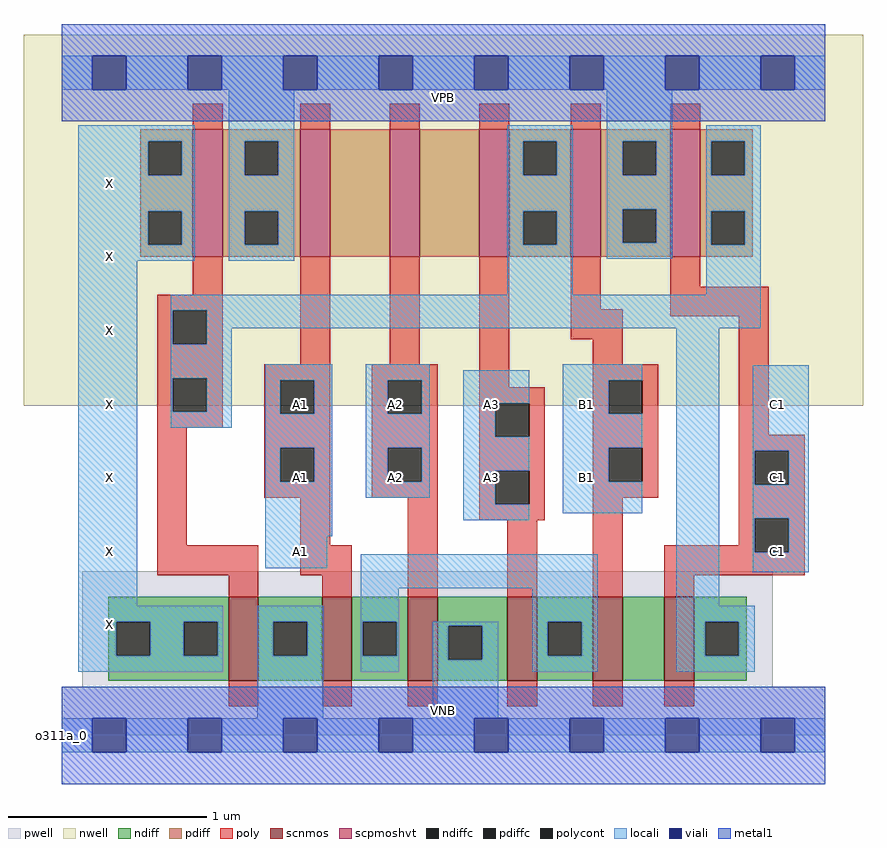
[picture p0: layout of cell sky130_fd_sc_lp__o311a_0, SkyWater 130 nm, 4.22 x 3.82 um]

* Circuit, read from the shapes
.subckt sky130_fd_sc_lp__o311a_0 A1 A2 A3 B1 C1 VGND VNB VPB VPWR X
XM1 VGND n1 X VNB sky130_fd_pr__nfet_01v8 w=0.42 l=0.15
XM2 n2 A1 VGND VNB sky130_fd_pr__nfet_01v8 w=0.42 l=0.15
XM3 VGND A2 n2 VNB sky130_fd_pr__nfet_01v8 w=0.42 l=0.15
XM4 n2 A3 VGND VNB sky130_fd_pr__nfet_01v8 w=0.42 l=0.15
XM5 n3 B1 n2 VNB sky130_fd_pr__nfet_01v8 w=0.42 l=0.15
XM6 n1 C1 n3 VNB sky130_fd_pr__nfet_01v8 w=0.42 l=0.15
XM7 VPWR n1 X VPB sky130_fd_pr__pfet_01v8_hvt w=0.64 l=0.15
XM8 n4 A1 VPWR VPB sky130_fd_pr__pfet_01v8_hvt w=0.64 l=0.15
XM9 n5 A2 n4 VPB sky130_fd_pr__pfet_01v8_hvt w=0.64 l=0.15
XM10 n1 A3 n5 VPB sky130_fd_pr__pfet_01v8_hvt w=0.64 l=0.15
XM11 VPWR B1 n1 VPB sky130_fd_pr__pfet_01v8_hvt w=0.64 l=0.15
XM12 n1 C1 VPWR VPB sky130_fd_pr__pfet_01v8_hvt w=0.64 l=0.15
.ends

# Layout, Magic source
magic
tech sky130A
magscale 1 2
<< nwell >>
rect -38 331 806 704
<< pwell >>
rect 21 49 715 165
rect 0 0 768 49
<< scnmos >>
rect 168 55 198 139
rect 262 55 292 139
rect 348 55 378 139
rect 448 55 478 139
rect 534 55 564 139
rect 606 55 636 139
<< scpmoshvt >>
rect 132 481 162 609
rect 240 481 270 609
rect 330 481 360 609
rect 420 481 450 609
rect 512 481 542 609
rect 612 481 642 609
<< ndiff >>
rect 47 114 168 139
rect 47 80 55 114
rect 89 80 123 114
rect 157 80 168 114
rect 47 55 168 80
rect 198 114 262 139
rect 198 80 213 114
rect 247 80 262 114
rect 198 55 262 80
rect 292 114 348 139
rect 292 80 303 114
rect 337 80 348 114
rect 292 55 348 80
rect 378 110 448 139
rect 378 76 389 110
rect 423 76 448 110
rect 378 55 448 76
rect 478 114 534 139
rect 478 80 489 114
rect 523 80 534 114
rect 478 55 534 80
rect 564 55 606 139
rect 636 114 689 139
rect 636 80 647 114
rect 681 80 689 114
rect 636 55 689 80
<< pdiff >>
rect 79 597 132 609
rect 79 563 87 597
rect 121 563 132 597
rect 79 527 132 563
rect 79 493 87 527
rect 121 493 132 527
rect 79 481 132 493
rect 162 597 240 609
rect 162 563 184 597
rect 218 563 240 597
rect 162 527 240 563
rect 162 493 184 527
rect 218 493 240 527
rect 162 481 240 493
rect 270 481 330 609
rect 360 481 420 609
rect 450 597 512 609
rect 450 563 464 597
rect 498 563 512 597
rect 450 527 512 563
rect 450 493 464 527
rect 498 493 512 527
rect 450 481 512 493
rect 542 597 612 609
rect 542 563 564 597
rect 598 563 612 597
rect 542 529 612 563
rect 542 495 564 529
rect 598 495 612 529
rect 542 481 612 495
rect 642 597 695 609
rect 642 563 653 597
rect 687 563 695 597
rect 642 527 695 563
rect 642 493 653 527
rect 687 493 695 527
rect 642 481 695 493
<< ndiffc >>
rect 55 80 89 114
rect 123 80 157 114
rect 213 80 247 114
rect 303 80 337 114
rect 389 76 423 110
rect 489 80 523 114
rect 647 80 681 114
<< pdiffc >>
rect 87 563 121 597
rect 87 493 121 527
rect 184 563 218 597
rect 184 493 218 527
rect 464 563 498 597
rect 464 493 498 527
rect 564 563 598 597
rect 564 495 598 529
rect 653 563 687 597
rect 653 493 687 527
<< poly >>
rect 132 609 162 635
rect 240 609 270 635
rect 330 609 360 635
rect 420 609 450 635
rect 512 609 542 635
rect 612 609 642 635
rect 132 443 162 481
rect 96 427 162 443
rect 96 393 112 427
rect 146 393 162 427
rect 96 359 162 393
rect 240 373 270 481
rect 330 373 360 481
rect 96 325 112 359
rect 146 325 162 359
rect 96 309 162 325
rect 204 357 270 373
rect 204 323 220 357
rect 254 323 270 357
rect 96 191 126 309
rect 204 289 270 323
rect 204 255 220 289
rect 254 255 270 289
rect 204 239 270 255
rect 312 357 378 373
rect 312 323 328 357
rect 362 323 378 357
rect 312 289 378 323
rect 312 255 328 289
rect 362 255 378 289
rect 312 239 378 255
rect 240 191 270 239
rect 96 161 198 191
rect 240 161 292 191
rect 168 139 198 161
rect 262 139 292 161
rect 348 139 378 239
rect 420 350 450 481
rect 512 428 542 481
rect 612 451 642 481
rect 512 398 564 428
rect 612 421 711 451
rect 534 373 564 398
rect 534 357 600 373
rect 420 334 486 350
rect 420 300 436 334
rect 470 300 486 334
rect 420 266 486 300
rect 420 232 436 266
rect 470 232 486 266
rect 420 216 486 232
rect 534 323 550 357
rect 584 323 600 357
rect 534 289 600 323
rect 534 255 550 289
rect 584 255 600 289
rect 534 239 600 255
rect 681 302 711 421
rect 681 286 747 302
rect 681 252 697 286
rect 731 252 747 286
rect 448 139 478 216
rect 534 139 564 239
rect 681 218 747 252
rect 681 191 697 218
rect 606 184 697 191
rect 731 184 747 218
rect 606 161 747 184
rect 606 139 636 161
rect 168 29 198 55
rect 262 29 292 55
rect 348 29 378 55
rect 448 29 478 55
rect 534 29 564 55
rect 606 29 636 55
<< polycont >>
rect 112 393 146 427
rect 112 325 146 359
rect 220 323 254 357
rect 220 255 254 289
rect 328 323 362 357
rect 328 255 362 289
rect 436 300 470 334
rect 436 232 470 266
rect 550 323 584 357
rect 550 255 584 289
rect 697 252 731 286
rect 697 184 731 218
<< locali >>
rect 0 649 31 683
rect 65 649 127 683
rect 161 649 223 683
rect 257 649 319 683
rect 353 649 415 683
rect 449 649 511 683
rect 545 649 607 683
rect 641 649 703 683
rect 737 649 768 683
rect 17 597 134 613
rect 17 563 87 597
rect 121 563 134 597
rect 17 527 134 563
rect 17 493 87 527
rect 121 493 134 527
rect 17 477 134 493
rect 168 597 234 649
rect 168 563 184 597
rect 218 563 234 597
rect 168 527 234 563
rect 168 493 184 527
rect 218 493 234 527
rect 168 477 234 493
rect 448 597 514 613
rect 448 563 464 597
rect 498 563 514 597
rect 448 527 514 563
rect 448 493 464 527
rect 498 493 514 527
rect 17 130 76 477
rect 448 443 514 493
rect 548 597 614 649
rect 548 563 564 597
rect 598 563 614 597
rect 548 529 614 563
rect 548 495 564 529
rect 598 495 614 529
rect 548 479 614 495
rect 648 597 703 613
rect 648 563 653 597
rect 687 563 703 597
rect 648 527 703 563
rect 648 493 653 527
rect 687 493 703 527
rect 648 443 703 493
rect 110 427 703 443
rect 110 393 112 427
rect 146 409 703 427
rect 146 393 171 409
rect 110 359 171 393
rect 110 325 112 359
rect 146 325 171 359
rect 110 309 171 325
rect 205 357 272 373
rect 205 323 220 357
rect 254 323 272 357
rect 205 289 272 323
rect 205 255 220 289
rect 254 255 272 289
rect 205 200 272 255
rect 306 357 370 373
rect 306 323 328 357
rect 362 323 370 357
rect 306 289 370 323
rect 306 255 328 289
rect 362 255 370 289
rect 306 239 370 255
rect 404 334 470 367
rect 404 300 436 334
rect 404 266 470 300
rect 404 232 436 266
rect 404 216 470 232
rect 504 357 584 373
rect 504 323 550 357
rect 504 289 584 323
rect 504 255 550 289
rect 504 223 584 255
rect 205 168 267 200
rect 301 148 539 182
rect 17 114 162 130
rect 17 80 55 114
rect 89 80 123 114
rect 157 80 162 114
rect 17 64 162 80
rect 197 114 263 130
rect 197 80 213 114
rect 247 80 263 114
rect 197 17 263 80
rect 301 114 339 148
rect 473 114 539 148
rect 301 80 303 114
rect 337 80 339 114
rect 301 64 339 80
rect 373 110 439 114
rect 373 76 389 110
rect 423 76 439 110
rect 373 17 439 76
rect 473 80 489 114
rect 523 80 539 114
rect 473 64 539 80
rect 618 130 661 409
rect 695 286 751 372
rect 695 252 697 286
rect 731 252 751 286
rect 695 218 751 252
rect 695 184 697 218
rect 731 184 751 218
rect 695 164 751 184
rect 618 114 697 130
rect 618 80 647 114
rect 681 80 697 114
rect 618 64 697 80
rect 0 -17 31 17
rect 65 -17 127 17
rect 161 -17 223 17
rect 257 -17 319 17
rect 353 -17 415 17
rect 449 -17 511 17
rect 545 -17 607 17
rect 641 -17 703 17
rect 737 -17 768 17
<< viali >>
rect 31 649 65 683
rect 127 649 161 683
rect 223 649 257 683
rect 319 649 353 683
rect 415 649 449 683
rect 511 649 545 683
rect 607 649 641 683
rect 703 649 737 683
rect 31 -17 65 17
rect 127 -17 161 17
rect 223 -17 257 17
rect 319 -17 353 17
rect 415 -17 449 17
rect 511 -17 545 17
rect 607 -17 641 17
rect 703 -17 737 17
<< metal1 >>
rect 0 683 768 715
rect 0 649 31 683
rect 65 649 127 683
rect 161 649 223 683
rect 257 649 319 683
rect 353 649 415 683
rect 449 649 511 683
rect 545 649 607 683
rect 641 649 703 683
rect 737 649 768 683
rect 0 617 768 649
rect 0 17 768 49
rect 0 -17 31 17
rect 65 -17 127 17
rect 161 -17 223 17
rect 257 -17 319 17
rect 353 -17 415 17
rect 449 -17 511 17
rect 545 -17 607 17
rect 641 -17 703 17
rect 737 -17 768 17
rect 0 -49 768 -17
<< labels >>
flabel pwell s 0 0 768 49 0 FreeSans 200 0 0 0 VNB
port 7 nsew ground bidirectional
flabel nwell s 0 617 768 666 0 FreeSans 200 0 0 0 VPB
port 8 nsew power bidirectional
rlabel comment s 0 0 0 0 4 o311a_0
flabel metal1 s 0 617 768 666 0 FreeSans 340 0 0 0 VPWR
port 9 nsew power bidirectional
flabel metal1 s 0 0 768 49 0 FreeSans 340 0 0 0 VGND
port 6 nsew ground bidirectional
flabel locali s 223 168 257 202 0 FreeSans 340 0 0 0 A1
port 1 nsew signal input
flabel locali s 223 242 257 276 0 FreeSans 340 0 0 0 A1
port 1 nsew signal input
flabel locali s 223 316 257 350 0 FreeSans 340 0 0 0 A1
port 1 nsew signal input
flabel locali s 319 242 353 276 0 FreeSans 340 0 0 0 A2
port 2 nsew signal input
flabel locali s 319 316 353 350 0 FreeSans 340 0 0 0 A2
port 2 nsew signal input
flabel locali s 415 242 449 276 0 FreeSans 340 0 0 0 A3
port 3 nsew signal input
flabel locali s 415 316 449 350 0 FreeSans 340 0 0 0 A3
port 3 nsew signal input
flabel locali s 511 242 545 276 0 FreeSans 340 0 0 0 B1
port 4 nsew signal input
flabel locali s 511 316 545 350 0 FreeSans 340 0 0 0 B1
port 4 nsew signal input
flabel locali s 703 168 737 202 0 FreeSans 340 0 0 0 C1
port 5 nsew signal input
flabel locali s 703 242 737 276 0 FreeSans 340 0 0 0 C1
port 5 nsew signal input
flabel locali s 703 316 737 350 0 FreeSans 340 0 0 0 C1
port 5 nsew signal input
flabel locali s 31 94 65 128 0 FreeSans 340 0 0 0 X
port 10 nsew signal output
flabel locali s 31 168 65 202 0 FreeSans 340 0 0 0 X
port 10 nsew signal output
flabel locali s 31 242 65 276 0 FreeSans 340 0 0 0 X
port 10 nsew signal output
flabel locali s 31 316 65 350 0 FreeSans 340 0 0 0 X
port 10 nsew signal output
flabel locali s 31 390 65 424 0 FreeSans 340 0 0 0 X
port 10 nsew signal output
flabel locali s 31 464 65 498 0 FreeSans 340 0 0 0 X
port 10 nsew signal output
flabel locali s 31 538 65 572 0 FreeSans 340 0 0 0 X
port 10 nsew signal output
<< properties >>
string LEFsite unit
string LEFclass CORE
string FIXED_BBOX 0 0 768 666
string GDS_FILE $PDKPATH/libs.ref/sky130_fd_sc_lp/gds/sky130_fd_sc_lp.gds
string LEFsymmetry X Y R90
string GDS_END 4424652
string GDS_START 4416132
<< end >>
